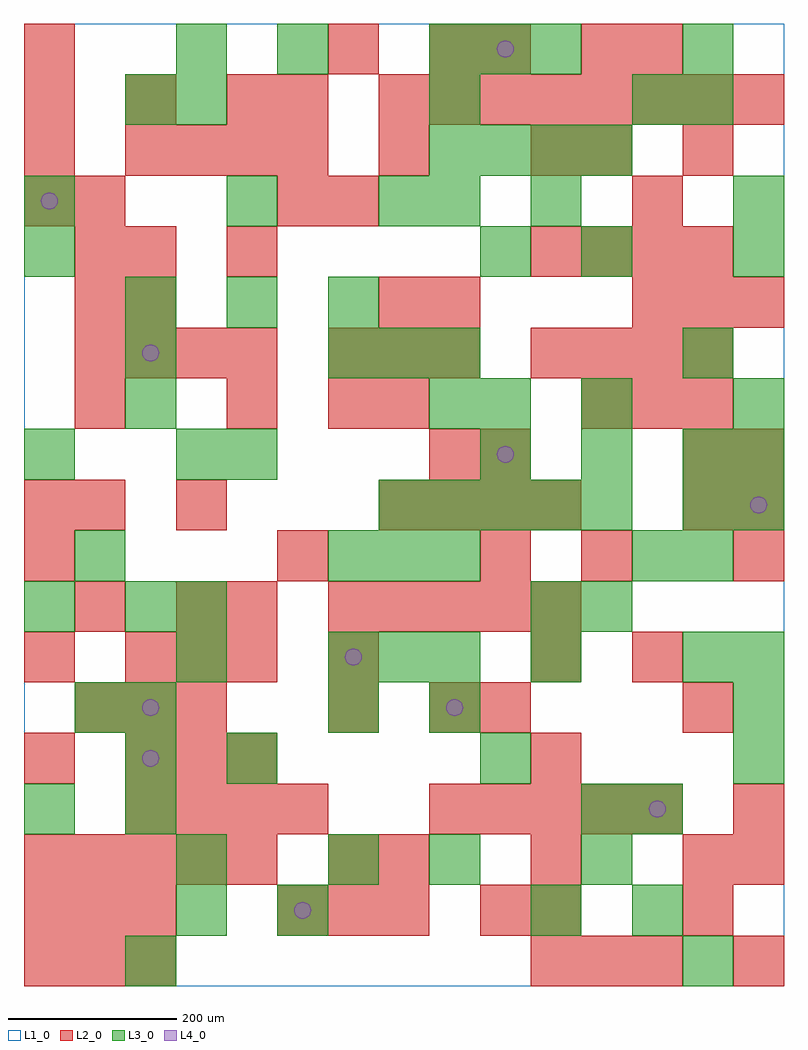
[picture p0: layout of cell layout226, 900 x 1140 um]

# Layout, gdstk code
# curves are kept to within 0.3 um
import gdstk
lib = gdstk.Library(unit=1e-6, precision=1e-09)
def R(c, l, rs):  # rectangles x0, y0, x1, y1
    for r in rs: c.add(gdstk.rectangle(r[:2], r[2:], *l))
def A(c, l, x, y, w, h, nx, ny, dx, dy):  # array of equal rectangles
    R(c, l, [(x+i*dx, y+j*dy, x+i*dx+w, y+j*dy+h) for i in range(nx) for j in range(ny)])
def P(c, l, *ps):  # polygons
    for p in ps: c.add(gdstk.Polygon(p, *l))
L1_0 = (1, 0)
L2_0 = (2, 0)
L3_0 = (3, 0)
L4_0 = (4, 0)

layout226 = lib.new_cell('layout226')
R(layout226, L1_0, [(0,0,900,1140)])
A(layout226, L2_0, 0, 0, 60, 60, 3, 2, 60, 60)
A(layout226, L2_0, 600, 0, 60, 60, 3, 1, 60, 0)
A(layout226, L2_0, 300, 60, 60, 60, 3, 1, 60, 0)
A(layout226, L2_0, 780, 60, 60, 60, 1, 3, 0, 240)
A(layout226, L2_0, 0, 120, 60, 60, 5, 1, 60, 0)
A(layout226, L2_0, 420, 120, 60, 60, 3, 1, 180, 0)
A(layout226, L2_0, 120, 180, 60, 60, 4, 2, 60, 780)
A(layout226, L2_0, 480, 180, 60, 60, 5, 1, 60, 0)
A(layout226, L2_0, 0, 240, 60, 60, 1, 3, 0, 120)
A(layout226, L2_0, 120, 240, 60, 60, 3, 2, 60, 120)
A(layout226, L2_0, 60, 300, 60, 60, 3, 1, 60, 0)
A(layout226, L2_0, 60, 420, 60, 60, 1, 4, 0, 120)
A(layout226, L2_0, 360, 420, 60, 60, 5, 1, 60, 0)
A(layout226, L2_0, 840, 480, 60, 60, 1, 3, 0, 60)
A(layout226, L2_0, 420, 540, 60, 60, 4, 1, 60, 0)
A(layout226, L2_0, 660, 660, 60, 60, 3, 1, 60, 0)
A(layout226, L2_0, 60, 720, 60, 60, 4, 1, 60, 0)
A(layout226, L2_0, 360, 720, 60, 60, 3, 1, 60, 0)
A(layout226, L2_0, 600, 720, 60, 60, 4, 2, 60, 120)
A(layout226, L2_0, 720, 780, 60, 60, 3, 1, 60, 0)
A(layout226, L2_0, 0, 1020, 60, 60, 3, 1, 120, 0)
A(layout226, L2_0, 420, 1020, 60, 60, 8, 1, 60, 0)
R(layout226, L2_0, [(840,0,900,60), (540,60,600,120), (600,60,660,120), (360,120,420,180), (840,120,900,180), (840,180,900,240), (600,240,660,300), (360,300,420,360), (480,300,540,360), (540,300,600,360), (360,360,420,420), (600,360,660,420), (720,360,780,420), (180,420,240,480), (240,420,300,480), (300,480,360,540), (540,480,600,540), (660,480,720,540), (0,540,60,600), (180,540,240,600), (480,600,540,660), (540,600,600,660), (780,600,840,660), (240,660,300,720), (360,660,420,720), (420,660,480,720), (120,780,180,840), (420,780,480,840), (480,780,540,840), (60,840,120,900), (120,840,180,900), (240,840,300,900), (0,900,60,960), (60,900,120,960), (300,900,360,960), (360,900,420,960), (720,900,780,960), (0,960,60,1020), (420,960,480,1020), (600,960,660,1020), (660,960,720,1020), (780,960,840,1020), (300,1020,360,1080), (0,1080,60,1140), (360,1080,420,1140), (480,1080,540,1140), (540,1080,600,1140), (660,1080,720,1140), (720,1080,780,1140)])
A(layout226, L3_0, 120, 180, 60, 60, 1, 3, 0, 60)
A(layout226, L3_0, 660, 180, 60, 60, 1, 3, 0, 240)
A(layout226, L3_0, 240, 240, 60, 60, 3, 1, 300, 0)
A(layout226, L3_0, 360, 360, 60, 60, 3, 2, 60, 120)
A(layout226, L3_0, 420, 540, 60, 60, 5, 1, 60, 0)
A(layout226, L3_0, 840, 540, 60, 60, 1, 3, 0, 60)
A(layout226, L3_0, 540, 600, 60, 60, 3, 1, 120, 0)
A(layout226, L3_0, 360, 720, 60, 60, 3, 1, 60, 0)
A(layout226, L3_0, 120, 780, 60, 60, 3, 1, 120, 0)
A(layout226, L3_0, 480, 960, 60, 60, 4, 1, 60, 0)
A(layout226, L3_0, 480, 1080, 60, 60, 3, 1, 60, 0)
R(layout226, L3_0, [(120,0,180,60), (780,0,840,60), (180,60,240,120), (300,60,360,120), (600,60,660,120), (720,60,780,120), (180,120,240,180), (360,120,420,180), (480,120,540,180), (660,120,720,180), (0,180,60,240), (720,180,780,240), (60,300,120,360), (360,300,420,360), (480,300,540,360), (840,300,900,360), (180,360,240,420), (600,360,660,420), (780,360,840,420), (840,360,900,420), (0,420,60,480), (120,420,180,480), (180,420,240,480), (600,420,660,480), (60,480,120,540), (720,480,780,540), (780,480,840,540), (780,540,840,600), (0,600,60,660), (180,600,240,660), (240,600,300,660), (120,660,180,720), (480,660,540,720), (540,660,600,720), (120,720,180,780), (780,720,840,780), (0,840,60,900), (540,840,600,900), (660,840,720,900), (840,840,900,900), (0,900,60,960), (240,900,300,960), (420,900,480,960), (480,900,540,960), (600,900,660,960), (840,900,900,960), (120,1020,180,1080), (180,1020,240,1080), (480,1020,540,1080), (720,1020,780,1080), (780,1020,840,1080), (180,1080,240,1140), (300,1080,360,1140), (780,1080,840,1140)])
P(layout226, L4_0, [(40,930),(39.239,933.827),(37.071,937.071),(33.827,939.239),(30,940),(26.173,939.239),(22.929,937.071),(20.761,933.827),(20,930),(20.761,926.173),(22.929,922.929),(26.173,920.761),(30,920),(33.827,920.761),(37.071,922.929),(39.239,926.173)],
  [(160,270),(159.239,273.827),(157.071,277.071),(153.827,279.239),(150,280),(146.173,279.239),(142.929,277.071),(140.761,273.827),(140,270),(140.761,266.173),(142.929,262.929),(146.173,260.761),(150,260),(153.827,260.761),(157.071,262.929),(159.239,266.173)],
  [(160,330),(159.239,333.827),(157.071,337.071),(153.827,339.239),(150,340),(146.173,339.239),(142.929,337.071),(140.761,333.827),(140,330),(140.761,326.173),(142.929,322.929),(146.173,320.761),(150,320),(153.827,320.761),(157.071,322.929),(159.239,326.173)],
  [(160,750),(159.239,753.827),(157.071,757.071),(153.827,759.239),(150,760),(146.173,759.239),(142.929,757.071),(140.761,753.827),(140,750),(140.761,746.173),(142.929,742.929),(146.173,740.761),(150,740),(153.827,740.761),(157.071,742.929),(159.239,746.173)],
  [(340,90),(339.239,93.827),(337.071,97.071),(333.827,99.239),(330,100),(326.173,99.239),(322.929,97.071),(320.761,93.827),(320,90),(320.761,86.173),(322.929,82.929),(326.173,80.761),(330,80),(333.827,80.761),(337.071,82.929),(339.239,86.173)],
  [(400,390),(399.239,393.827),(397.071,397.071),(393.827,399.239),(390,400),(386.173,399.239),(382.929,397.071),(380.761,393.827),(380,390),(380.761,386.173),(382.929,382.929),(386.173,380.761),(390,380),(393.827,380.761),(397.071,382.929),(399.239,386.173)],
  [(520,330),(519.239,333.827),(517.071,337.071),(513.827,339.239),(510,340),(506.173,339.239),(502.929,337.071),(500.761,333.827),(500,330),(500.761,326.173),(502.929,322.929),(506.173,320.761),(510,320),(513.827,320.761),(517.071,322.929),(519.239,326.173)],
  [(580,630),(579.239,633.827),(577.071,637.071),(573.827,639.239),(570,640),(566.173,639.239),(562.929,637.071),(560.761,633.827),(560,630),(560.761,626.173),(562.929,622.929),(566.173,620.761),(570,620),(573.827,620.761),(577.071,622.929),(579.239,626.173)],
  [(580,1110),(579.239,1113.827),(577.071,1117.071),(573.827,1119.239),(570,1120),(566.173,1119.239),(562.929,1117.071),(560.761,1113.827),(560,1110),(560.761,1106.173),(562.929,1102.929),(566.173,1100.761),(570,1100),(573.827,1100.761),(577.071,1102.929),(579.239,1106.173)],
  [(760,210),(759.239,213.827),(757.071,217.071),(753.827,219.239),(750,220),(746.173,219.239),(742.929,217.071),(740.761,213.827),(740,210),(740.761,206.173),(742.929,202.929),(746.173,200.761),(750,200),(753.827,200.761),(757.071,202.929),(759.239,206.173)],
  [(880,570),(879.239,573.827),(877.071,577.071),(873.827,579.239),(870,580),(866.173,579.239),(862.929,577.071),(860.761,573.827),(860,570),(860.761,566.173),(862.929,562.929),(866.173,560.761),(870,560),(873.827,560.761),(877.071,562.929),(879.239,566.173)])

lib.write_gds('layout226.gds')
